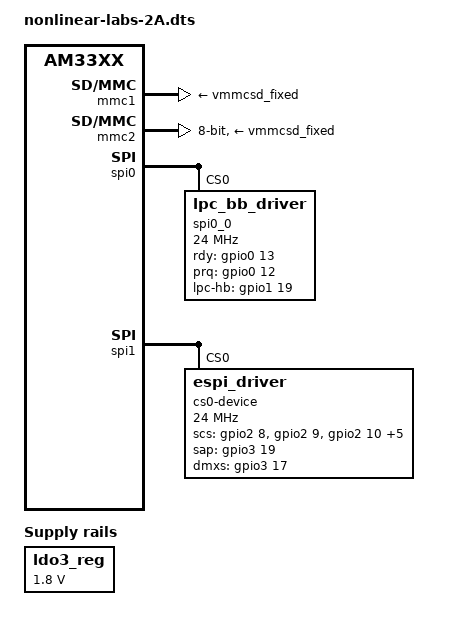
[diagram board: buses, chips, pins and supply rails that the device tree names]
/*
 * Copyright (C) 2012 Texas Instruments Incorporated - http://www.ti.com/
 *
 * This program is free software; you can redistribute it and/or modify
 * it under the terms of the GNU General Public License version 2 as
 * published by the Free Software Foundation.
 */
/dts-v1/;

#include "am33xx.dtsi"
#include "am335x-bone-common.dtsi"

	/ {
		nonlinear {
			hw-rev = "2A";
		};
	};




	&ldo3_reg {
	regulator-min-microvolt = <1800000>;
	regulator-max-microvolt = <1800000>;
	regulator-always-on;
	};

	&mmc1 {
	vmmc-supply = <&vmmcsd_fixed>;
	};

	&mmc2 {
	vmmc-supply = <&vmmcsd_fixed>;
	pinctrl-names = "default";
	pinctrl-0 = <&emmc_pins>;
	bus-width = <8>;
	status = "okay";
	ti,vcc-aux-disable-is-sleep;
	};


	&am33xx_pinmux {

	/*NL_nni: SPI1 (ADC) & SPI0 added */
	pinctrl_spi0: pinmux_spi0_pins {
		pinctrl-single,pins = <
			0x150 0x30	/* SPI0_CLK */
			0x154 0x30	/* SPI0_D0 */
			0x158 0x10	/* SPI0_D1 */
			0x15C 0x10	/* SPI0_CS0 */
			0x178 0x37	/* LPC_PRQ uart1_ctsn.gpio0_12, INPUT | MODE7 */
			0x17C 0x37	/* LPC_RDY uart1_rtsn.gpio0_13, INPUT | MODE7 */
		>;
	};

	pinctrl_spi1: pinmux_spi1_pins {
		pinctrl-single,pins = <
			0x190 0x23	/* SPI1_CLK */
			0x194 0x23	/* SPI1_D0 */
			0x198 0x13	/* SPI1_D1 */
			0x19C 0x17	/* ESPI_SDG */
			0x1A4 0x17	/* ESPI_SDS */
			0x8C 0x7	/* OLED_DC gpmc_clk_mux0.gpio2_1, OUTPUT | MODE7 */
			0x28 0x7	/* OLED_CS gpmc_ad10.gpio0_26, OUTPUT | MODE7 */
			0x3c 0x7	/* ADC_CS gpmc_ad15.gpio1_15, OUTPUT | MODE7 */
			0x0A8 0x7	/* POD2 GPIO2 8  */
			0x0AC 0x7	/* POD1 GPIO2 9  */
			0x0B0 0x7	/* POD4 GPIO2 10 */
			0x0B4 0x7	/* POD3 GPIO2 11 */
			0x0B8 0x7	/* POD6 GPIO2 12 */
			0x0BC 0x7	/* POD5 GPIO2 13 */
			0x0C0 0x7	/* POD8 GPIO2 14 */
			0x0C4 0x7	/* POD7 GPIO2 15 */
		>;
	};
	};

	/* NL_nni: SPI1 & SPI0 added */
	&spi0 {
	#address-cells = <1>;
	#size-cells = <0>;
	status = "okay";
	pinctrl-names = "default";
	pinctrl-0 = <&pinctrl_spi0>;

	spi0_0{
		#address-cells = <1>;
		#size-cells = <0>;
		compatible ="lpc_bb_driver";
		reg = <0>;
		spi-max-frequency=<24000000>;
		rdy-gpio = <&gpio0 13 0>;
		prq-gpio = <&gpio0 12 0>;
		lpc-hb-gpio = <&gpio1 19 0>;
		};
	};

	&spi1 {
	#address-cells = <1>;
	#size-cells = <0>;
	status = "okay";
	pinctrl-names = "default";
	pinctrl-0 = <&pinctrl_spi1>;

	cs0-device {
		#address-cells = <1>;
		#size-cells = <0>;
		compatible ="espi_driver", "spidev";
		reg = <0>;
		spi-max-frequency=<24000000>;
		/* NL_nni: eSPI hub specific GPIOs */
		scs-gpios = <   &gpio2 8 0
				&gpio2 9 0
				&gpio2 10 0
				&gpio2 11 0
				&gpio2 12 0
				&gpio2 13 0
				&gpio2 14 0
				&gpio2 15 0
			>;
		sap-gpio = <&gpio3 19 0>;
		dmxs-gpio = <&gpio3 17 0>;
		};
	};
